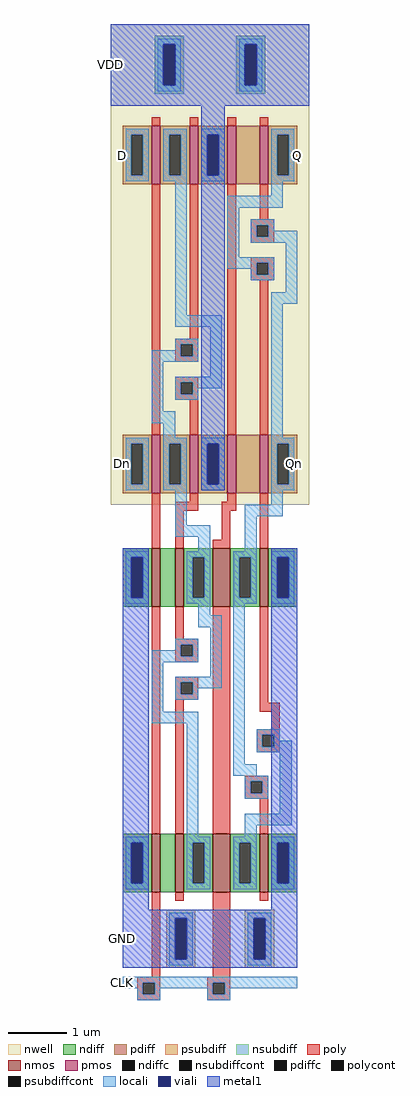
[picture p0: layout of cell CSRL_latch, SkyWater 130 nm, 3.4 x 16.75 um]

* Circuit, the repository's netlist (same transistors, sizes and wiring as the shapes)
** sch_path: /home/madvlsi/MADVLSI/Miniproject2/CSRL_Latch.sch
**.subckt CSRL_Latch Q Qn VDD GND D Dn CLK
*.opin Q
*.opin Qn
*.iopin VDD
*.iopin GND
*.ipin D
*.ipin Dn
*.iopin CLK
XM2 Dn CLK net2 VDD sky130_fd_pr__pfet_01v8 L=0.15 W=1 nf=1 ad='int((nf+1)/2) * W/nf * 0.29' as='int((nf+2)/2) * W/nf * 0.29'
+ pd='2*int((nf+1)/2) * (W/nf + 0.29)' ps='2*int((nf+2)/2) * (W/nf + 0.29)' nrd='0.29 / W' nrs='0.29 / W'
+ sa=0 sb=0 sd=0 mult=1 m=1
XM3 VDD net2 net1 VDD sky130_fd_pr__pfet_01v8 L=0.15 W=1 nf=1 ad='int((nf+1)/2) * W/nf * 0.29' as='int((nf+2)/2) * W/nf * 0.29'
+ pd='2*int((nf+1)/2) * (W/nf + 0.29)' ps='2*int((nf+2)/2) * (W/nf + 0.29)' nrd='0.29 / W' nrs='0.29 / W'
+ sa=0 sb=0 sd=0 mult=1 m=1
XM4 VDD CLK net5 VDD sky130_fd_pr__pfet_01v8 L=0.15 W=1 nf=1 ad='int((nf+1)/2) * W/nf * 0.29' as='int((nf+2)/2) * W/nf * 0.29'
+ pd='2*int((nf+1)/2) * (W/nf + 0.29)' ps='2*int((nf+2)/2) * (W/nf + 0.29)' nrd='0.29 / W' nrs='0.29 / W'
+ sa=0 sb=0 sd=0 mult=1 m=1
XM5 net5 Qn Q VDD sky130_fd_pr__pfet_01v8 L=0.15 W=1 nf=1 ad='int((nf+1)/2) * W/nf * 0.29' as='int((nf+2)/2) * W/nf * 0.29'
+ pd='2*int((nf+1)/2) * (W/nf + 0.29)' ps='2*int((nf+2)/2) * (W/nf + 0.29)' nrd='0.29 / W' nrs='0.29 / W'
+ sa=0 sb=0 sd=0 mult=1 m=1
XM6 VDD net1 net2 VDD sky130_fd_pr__pfet_01v8 L=0.15 W=1 nf=1 ad='int((nf+1)/2) * W/nf * 0.29' as='int((nf+2)/2) * W/nf * 0.29'
+ pd='2*int((nf+1)/2) * (W/nf + 0.29)' ps='2*int((nf+2)/2) * (W/nf + 0.29)' nrd='0.29 / W' nrs='0.29 / W'
+ sa=0 sb=0 sd=0 mult=1 m=1
XM7 VDD CLK net6 VDD sky130_fd_pr__pfet_01v8 L=0.15 W=1 nf=1 ad='int((nf+1)/2) * W/nf * 0.29' as='int((nf+2)/2) * W/nf * 0.29'
+ pd='2*int((nf+1)/2) * (W/nf + 0.29)' ps='2*int((nf+2)/2) * (W/nf + 0.29)' nrd='0.29 / W' nrs='0.29 / W'
+ sa=0 sb=0 sd=0 mult=1 m=1
XM8 net6 Q Qn VDD sky130_fd_pr__pfet_01v8 L=0.15 W=1 nf=1 ad='int((nf+1)/2) * W/nf * 0.29' as='int((nf+2)/2) * W/nf * 0.29'
+ pd='2*int((nf+1)/2) * (W/nf + 0.29)' ps='2*int((nf+2)/2) * (W/nf + 0.29)' nrd='0.29 / W' nrs='0.29 / W'
+ sa=0 sb=0 sd=0 mult=1 m=1
XM9 net3 CLK GND GND sky130_fd_pr__nfet_01v8 L=0.15 W=1 nf=1 ad='int((nf+1)/2) * W/nf * 0.29' as='int((nf+2)/2) * W/nf * 0.29'
+ pd='2*int((nf+1)/2) * (W/nf + 0.29)' ps='2*int((nf+2)/2) * (W/nf + 0.29)' nrd='0.29 / W' nrs='0.29 / W'
+ sa=0 sb=0 sd=0 mult=1 m=1
XM10 D CLK net1 VDD sky130_fd_pr__pfet_01v8 L=0.15 W=1 nf=1 ad='int((nf+1)/2) * W/nf * 0.29' as='int((nf+2)/2) * W/nf * 0.29'
+ pd='2*int((nf+1)/2) * (W/nf + 0.29)' ps='2*int((nf+2)/2) * (W/nf + 0.29)' nrd='0.29 / W' nrs='0.29 / W'
+ sa=0 sb=0 sd=0 mult=1 m=1
XM11 net2 net1 net3 GND sky130_fd_pr__nfet_01v8 L=0.15 W=1 nf=1 ad='int((nf+1)/2) * W/nf * 0.29' as='int((nf+2)/2) * W/nf * 0.29'
+ pd='2*int((nf+1)/2) * (W/nf + 0.29)' ps='2*int((nf+2)/2) * (W/nf + 0.29)' nrd='0.29 / W' nrs='0.29 / W'
+ sa=0 sb=0 sd=0 mult=1 m=1
XM12 Qn CLK net2 GND sky130_fd_pr__nfet_01v8 L=0.30 W=1 nf=1 ad='int((nf+1)/2) * W/nf * 0.29' as='int((nf+2)/2) * W/nf * 0.29'
+ pd='2*int((nf+1)/2) * (W/nf + 0.29)' ps='2*int((nf+2)/2) * (W/nf + 0.29)' nrd='0.29 / W' nrs='0.29 / W'
+ sa=0 sb=0 sd=0 mult=1 m=1
XM13 GND Q Qn GND sky130_fd_pr__nfet_01v8 L=0.15 W=1 nf=1 ad='int((nf+1)/2) * W/nf * 0.29' as='int((nf+2)/2) * W/nf * 0.29'
+ pd='2*int((nf+1)/2) * (W/nf + 0.29)' ps='2*int((nf+2)/2) * (W/nf + 0.29)' nrd='0.29 / W' nrs='0.29 / W'
+ sa=0 sb=0 sd=0 mult=1 m=1
XM14 net4 CLK GND GND sky130_fd_pr__nfet_01v8 L=0.15 W=1 nf=1 ad='int((nf+1)/2) * W/nf * 0.29' as='int((nf+2)/2) * W/nf * 0.29'
+ pd='2*int((nf+1)/2) * (W/nf + 0.29)' ps='2*int((nf+2)/2) * (W/nf + 0.29)' nrd='0.29 / W' nrs='0.29 / W'
+ sa=0 sb=0 sd=0 mult=1 m=1
XM15 net1 net2 net4 GND sky130_fd_pr__nfet_01v8 L=0.15 W=1 nf=1 ad='int((nf+1)/2) * W/nf * 0.29' as='int((nf+2)/2) * W/nf * 0.29'
+ pd='2*int((nf+1)/2) * (W/nf + 0.29)' ps='2*int((nf+2)/2) * (W/nf + 0.29)' nrd='0.29 / W' nrs='0.29 / W'
+ sa=0 sb=0 sd=0 mult=1 m=1
XM16 Q CLK net1 GND sky130_fd_pr__nfet_01v8 L=0.30 W=1 nf=1 ad='int((nf+1)/2) * W/nf * 0.29' as='int((nf+2)/2) * W/nf * 0.29'
+ pd='2*int((nf+1)/2) * (W/nf + 0.29)' ps='2*int((nf+2)/2) * (W/nf + 0.29)' nrd='0.29 / W' nrs='0.29 / W'
+ sa=0 sb=0 sd=0 mult=1 m=1
XM17 GND Qn Q GND sky130_fd_pr__nfet_01v8 L=0.15 W=1 nf=1 ad='int((nf+1)/2) * W/nf * 0.29' as='int((nf+2)/2) * W/nf * 0.29'
+ pd='2*int((nf+1)/2) * (W/nf + 0.29)' ps='2*int((nf+2)/2) * (W/nf + 0.29)' nrd='0.29 / W' nrs='0.29 / W'
+ sa=0 sb=0 sd=0 mult=1 m=1
**.ends
.end

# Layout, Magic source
magic
tech sky130A
<< nwell >>
rect -135 1340 205 2165
<< nmos >>
rect -65 1165 -50 1265
rect -25 1165 -10 1265
rect 40 1165 70 1265
rect 120 1165 135 1265
rect -65 675 -50 775
rect -25 675 -10 775
rect 40 675 70 775
rect 120 675 135 775
<< pmos >>
rect -65 1890 -50 1990
rect 0 1890 15 1990
rect 65 1890 80 1990
rect 120 1890 135 1990
rect -65 1360 -50 1460
rect 0 1360 15 1460
rect 65 1360 80 1460
rect 120 1360 135 1460
<< ndiff >>
rect -115 1250 -65 1265
rect -115 1180 -100 1250
rect -80 1180 -65 1250
rect -115 1165 -65 1180
rect -50 1165 -25 1265
rect -10 1250 40 1265
rect -10 1180 5 1250
rect 25 1180 40 1250
rect -10 1165 40 1180
rect 70 1250 120 1265
rect 70 1180 85 1250
rect 105 1180 120 1250
rect 70 1165 120 1180
rect 135 1250 185 1265
rect 135 1180 150 1250
rect 170 1180 185 1250
rect 135 1165 185 1180
rect -115 760 -65 775
rect -115 690 -100 760
rect -80 690 -65 760
rect -115 675 -65 690
rect -50 675 -25 775
rect -10 760 40 775
rect -10 690 5 760
rect 25 690 40 760
rect -10 675 40 690
rect 70 760 120 775
rect 70 690 85 760
rect 105 690 120 760
rect 70 675 120 690
rect 135 760 185 775
rect 135 690 150 760
rect 170 690 185 760
rect 135 675 185 690
<< pdiff >>
rect -115 1975 -65 1990
rect -115 1905 -100 1975
rect -80 1905 -65 1975
rect -115 1890 -65 1905
rect -50 1975 0 1990
rect -50 1905 -35 1975
rect -15 1905 0 1975
rect -50 1890 0 1905
rect 15 1975 65 1990
rect 15 1905 30 1975
rect 50 1905 65 1975
rect 15 1890 65 1905
rect 80 1890 120 1990
rect 135 1975 185 1990
rect 135 1905 150 1975
rect 170 1905 185 1975
rect 135 1890 185 1905
rect -115 1445 -65 1460
rect -115 1375 -100 1445
rect -80 1375 -65 1445
rect -115 1360 -65 1375
rect -50 1445 0 1460
rect -50 1375 -35 1445
rect -15 1375 0 1445
rect -50 1360 0 1375
rect 15 1445 65 1460
rect 15 1375 30 1445
rect 50 1375 65 1445
rect 15 1360 65 1375
rect 80 1360 120 1460
rect 135 1445 185 1460
rect 135 1375 150 1445
rect 170 1375 185 1445
rect 135 1360 185 1375
<< ndiffc >>
rect -100 1180 -80 1250
rect 5 1180 25 1250
rect 85 1180 105 1250
rect 150 1180 170 1250
rect -100 690 -80 760
rect 5 690 25 760
rect 85 690 105 760
rect 150 690 170 760
<< pdiffc >>
rect -100 1905 -80 1975
rect -35 1905 -15 1975
rect 30 1905 50 1975
rect 150 1905 170 1975
rect -100 1375 -80 1445
rect -35 1375 -15 1445
rect 30 1375 50 1445
rect 150 1375 170 1445
<< psubdiff >>
rect -40 630 10 645
rect -40 560 -25 630
rect -5 560 10 630
rect -40 545 10 560
rect 95 630 145 645
rect 95 560 110 630
rect 130 560 145 630
rect 95 545 145 560
<< nsubdiff >>
rect -60 2130 -10 2145
rect -60 2060 -45 2130
rect -25 2060 -10 2130
rect -60 2045 -10 2060
rect 80 2130 130 2145
rect 80 2060 95 2130
rect 115 2060 130 2130
rect 80 2045 130 2060
<< psubdiffcont >>
rect -25 560 -5 630
rect 110 560 130 630
<< nsubdiffcont >>
rect -45 2060 -25 2130
rect 95 2060 115 2130
<< poly >>
rect -65 1990 -50 2005
rect 0 1990 15 2005
rect 65 1990 80 2005
rect 120 1990 135 2005
rect -65 1460 -50 1890
rect 0 1625 15 1890
rect -25 1615 15 1625
rect -25 1595 -15 1615
rect 5 1595 15 1615
rect -25 1585 15 1595
rect -25 1550 15 1560
rect -25 1530 -15 1550
rect 5 1530 15 1550
rect -25 1520 15 1530
rect 0 1460 15 1520
rect 65 1460 80 1890
rect 120 1830 135 1890
rect 105 1820 145 1830
rect 105 1800 115 1820
rect 135 1800 145 1820
rect 105 1790 145 1800
rect 105 1755 145 1765
rect 105 1735 115 1755
rect 135 1735 145 1755
rect 105 1725 145 1735
rect 120 1460 135 1725
rect -65 1265 -50 1360
rect 0 1345 15 1360
rect 65 1345 80 1360
rect -25 1330 15 1345
rect 55 1330 80 1345
rect -25 1265 -10 1330
rect 55 1280 70 1330
rect 40 1265 70 1280
rect 120 1265 135 1360
rect -65 775 -50 1165
rect -25 1110 -10 1165
rect -25 1100 15 1110
rect -25 1080 -15 1100
rect 5 1080 15 1100
rect -25 1070 15 1080
rect -25 1035 15 1045
rect -25 1015 -15 1035
rect 5 1015 15 1035
rect -25 1005 15 1015
rect -25 775 -10 1005
rect 40 775 70 1165
rect 120 1000 135 1165
rect 120 985 155 1000
rect 140 955 155 985
rect 115 945 155 955
rect 115 925 125 945
rect 145 925 155 945
rect 115 915 155 925
rect 95 865 135 875
rect 95 845 105 865
rect 125 845 135 865
rect 95 835 135 845
rect 120 775 135 835
rect -65 530 -50 675
rect -25 660 -10 675
rect 40 530 70 675
rect 120 660 135 675
rect -90 520 -50 530
rect -90 500 -80 520
rect -60 500 -50 520
rect -90 490 -50 500
rect 30 520 70 530
rect 30 500 40 520
rect 60 500 70 520
rect 30 490 70 500
<< polycont >>
rect -15 1595 5 1615
rect -15 1530 5 1550
rect 115 1800 135 1820
rect 115 1735 135 1755
rect -15 1080 5 1100
rect -15 1015 5 1035
rect 125 925 145 945
rect 105 845 125 865
rect -80 500 -60 520
rect 40 500 60 520
<< locali >>
rect -55 2130 -15 2140
rect -55 2060 -45 2130
rect -25 2060 -15 2130
rect -55 2050 -15 2060
rect 85 2130 125 2140
rect 85 2060 95 2130
rect 115 2060 125 2130
rect 85 2050 125 2060
rect -110 1975 -70 1985
rect -110 1905 -100 1975
rect -80 1905 -70 1975
rect -110 1895 -70 1905
rect -45 1975 -5 1985
rect -45 1905 -35 1975
rect -15 1905 -5 1975
rect -45 1895 -5 1905
rect 20 1975 60 1985
rect 20 1905 30 1975
rect 50 1905 60 1975
rect 20 1895 60 1905
rect 140 1975 180 1985
rect 140 1905 150 1975
rect 170 1905 180 1975
rect 140 1895 180 1905
rect -25 1665 -5 1895
rect 140 1870 160 1895
rect 65 1850 160 1870
rect 65 1765 85 1850
rect 105 1820 145 1830
rect 105 1800 115 1820
rect 135 1810 145 1820
rect 135 1800 185 1810
rect 105 1790 185 1800
rect 65 1755 145 1765
rect 65 1745 115 1755
rect 105 1735 115 1745
rect 135 1735 145 1755
rect 105 1725 145 1735
rect 165 1705 185 1790
rect 140 1685 185 1705
rect -25 1645 55 1665
rect -25 1615 15 1625
rect -25 1605 -15 1615
rect -65 1595 -15 1605
rect 5 1595 15 1615
rect -65 1585 15 1595
rect -65 1500 -45 1585
rect 35 1560 55 1645
rect -25 1550 55 1560
rect -25 1530 -15 1550
rect 5 1540 55 1550
rect 5 1530 15 1540
rect -25 1520 15 1530
rect -65 1480 -25 1500
rect -45 1455 -25 1480
rect 140 1455 160 1685
rect -110 1445 -70 1455
rect -110 1375 -100 1445
rect -80 1375 -70 1445
rect -110 1365 -70 1375
rect -45 1445 -5 1455
rect -45 1375 -35 1445
rect -15 1375 -5 1445
rect -45 1365 -5 1375
rect 20 1445 60 1455
rect 20 1375 30 1445
rect 50 1375 60 1445
rect 20 1365 60 1375
rect 140 1445 180 1455
rect 140 1375 150 1445
rect 170 1375 180 1445
rect 140 1365 180 1375
rect -25 1305 -5 1365
rect 140 1340 160 1365
rect 95 1320 160 1340
rect -25 1285 35 1305
rect 15 1260 35 1285
rect 95 1260 115 1320
rect -110 1250 -70 1260
rect -110 1180 -100 1250
rect -80 1180 -70 1250
rect -110 1170 -70 1180
rect -5 1250 35 1260
rect -5 1180 5 1250
rect 25 1180 35 1250
rect -5 1170 35 1180
rect 15 1150 35 1170
rect 75 1250 115 1260
rect 75 1180 85 1250
rect 105 1180 115 1250
rect 75 1170 115 1180
rect 140 1250 180 1260
rect 140 1180 150 1250
rect 170 1180 180 1250
rect 140 1170 180 1180
rect 15 1130 55 1150
rect -25 1100 15 1110
rect -25 1090 -15 1100
rect -65 1080 -15 1090
rect 5 1080 15 1100
rect -65 1070 15 1080
rect -65 985 -45 1070
rect 35 1045 55 1130
rect -25 1035 55 1045
rect -25 1015 -15 1035
rect 5 1025 55 1035
rect 5 1015 15 1025
rect -25 1005 15 1015
rect -65 965 15 985
rect -5 770 15 965
rect 75 895 95 1170
rect 115 945 155 955
rect 115 925 125 945
rect 145 935 155 945
rect 145 925 175 935
rect 115 915 175 925
rect 75 875 115 895
rect 95 865 135 875
rect 95 845 105 865
rect 125 845 135 865
rect 95 835 135 845
rect 155 810 175 915
rect 95 790 175 810
rect 95 770 115 790
rect -110 760 -70 770
rect -110 690 -100 760
rect -80 690 -70 760
rect -110 680 -70 690
rect -5 760 35 770
rect -5 690 5 760
rect 25 690 35 760
rect -5 680 35 690
rect 75 760 115 770
rect 75 690 85 760
rect 105 690 115 760
rect 75 680 115 690
rect 140 760 180 770
rect 140 690 150 760
rect 170 690 180 760
rect 140 680 180 690
rect -35 630 5 640
rect -35 560 -25 630
rect -5 560 5 630
rect -35 550 5 560
rect 100 630 140 640
rect 100 560 110 630
rect 130 560 140 630
rect 100 550 140 560
rect -115 520 185 530
rect -115 510 -80 520
rect -90 500 -80 510
rect -60 510 40 520
rect -60 500 -50 510
rect -90 490 -50 500
rect 30 500 40 510
rect 60 510 185 520
rect 60 500 70 510
rect 30 490 70 500
<< viali >>
rect -45 2060 -25 2130
rect 95 2060 115 2130
rect 30 1905 50 1975
rect 30 1375 50 1445
rect -100 1180 -80 1250
rect 150 1180 170 1250
rect -100 690 -80 760
rect 150 690 170 760
rect -25 560 -5 630
rect 110 560 130 630
<< metal1 >>
rect -135 2130 205 2165
rect -135 2060 -45 2130
rect -25 2060 95 2130
rect 115 2060 205 2130
rect -135 2025 205 2060
rect 20 1975 60 2025
rect 20 1905 30 1975
rect 50 1905 60 1975
rect 20 1445 60 1905
rect 20 1375 30 1445
rect 50 1375 60 1445
rect 20 1365 60 1375
rect -115 1250 -70 1265
rect -115 1180 -100 1250
rect -80 1180 -70 1250
rect -115 760 -70 1180
rect -115 690 -100 760
rect -80 690 -70 760
rect -115 645 -70 690
rect 140 1250 185 1265
rect 140 1180 150 1250
rect 170 1180 185 1250
rect 140 760 185 1180
rect 140 690 150 760
rect 170 690 185 760
rect 140 645 185 690
rect -115 630 185 645
rect -115 560 -25 630
rect -5 560 110 630
rect 130 560 185 630
rect -115 545 185 560
<< labels >>
rlabel locali -115 520 -115 520 7 CLK
port 1 w
rlabel metal1 -135 2095 -135 2095 7 VDD
port 2 w
rlabel metal1 -115 595 -115 595 7 GND
port 3 w
rlabel pdiff -115 1940 -115 1940 7 D
port 4 w
rlabel pdiff -115 1410 -115 1410 7 Dn
port 5 w
rlabel pdiff 185 1940 185 1940 3 Q
port 6 e
rlabel locali 180 1410 180 1410 3 Qn
port 7 e
<< end >>
